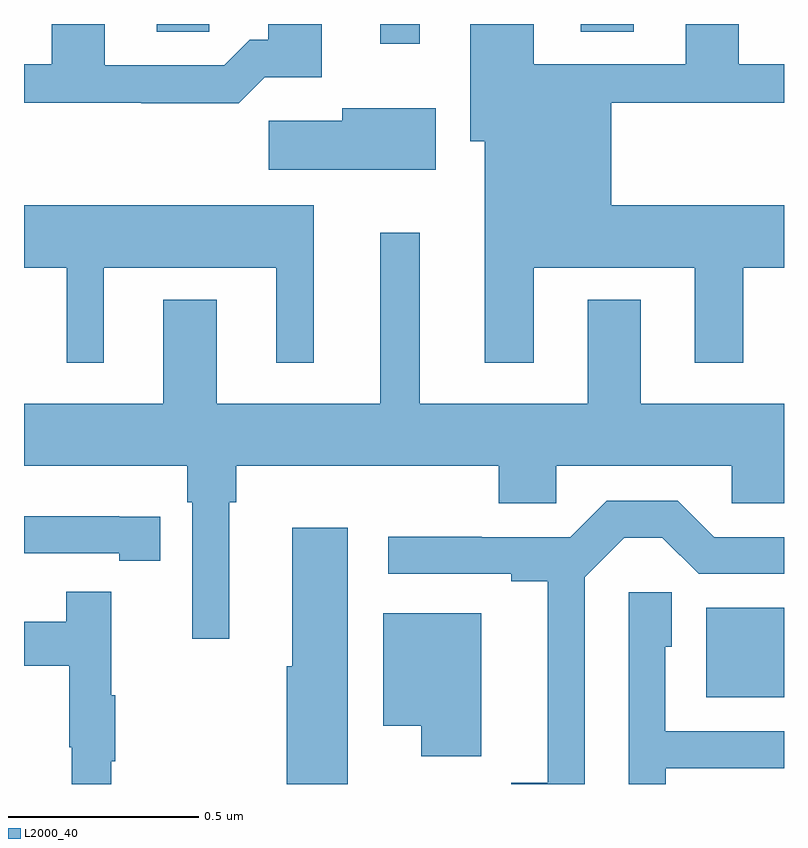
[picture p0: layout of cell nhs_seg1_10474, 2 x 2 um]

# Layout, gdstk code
import gdstk
lib = gdstk.Library(unit=1e-6, precision=1e-09)
def R(c, l, rs):  # rectangles x0, y0, x1, y1
    for r in rs: c.add(gdstk.rectangle(r[:2], r[2:], *l))
def P(c, l, *ps):  # polygons
    for p in ps: c.add(gdstk.Polygon(p, *l))
L2000_40 = (2000, 40)

nhs_seg1_10474 = lib.new_cell('nhs_seg1_10474')
R(nhs_seg1_10474, L2000_40, [(242.795,580.427,243,580.663), (241.937,582.147,242.041,582.199), (241.349,582.178,241.488,582.199), (242.465,582.178,242.605,582.199)])
P(nhs_seg1_10474, L2000_40, [(242.341,581.558),(242.765,581.558),(242.765,581.307),(242.893,581.307),(242.893,581.558),(243,581.558),(243,581.722),(242.545,581.722),(242.545,581.992),(243,581.992),(243,582.093),(242.881,582.093),(242.881,582.199),(242.741,582.199),(242.741,582.093),(242.341,582.093),(242.341,582.199),(242.174,582.199),(242.174,581.891),(242.213,581.891),(242.213,581.307),(242.341,581.307)],
  [(241.634,582.059),(241.783,582.059),(241.783,582.199),(241.643,582.199),(241.643,582.157),(241.594,582.157),(241.527,582.09),(241.213,582.09),(241.213,582.199),(241.073,582.199),(241.073,582.093),(241,582.093),(241,581.992),(241.309,581.992),(241.309,581.99),(241.565,581.99)],
  [(242.083,581.977),(241.838,581.977),(241.838,581.945),(241.644,581.945),(241.644,581.816),(242.083,581.816)],
  [(241.21,581.558),(241.664,581.558),(241.664,581.307),(241.762,581.307),(241.762,581.722),(241,581.722),(241,581.558),(241.112,581.558),(241.112,581.307),(241.21,581.307)],
  [(241.54,580.94),(241.559,580.94),(241.559,581.036),(242.249,581.036),(242.249,580.938),(242.4,580.938),(242.4,581.036),(242.862,581.036),(242.862,580.938),(243,580.938),(243,581.2),(242.623,581.2),(242.623,581.473),(242.483,581.473),(242.483,581.2),(242.041,581.2),(242.041,581.65),(241.937,581.65),(241.937,581.2),(241.507,581.2),(241.507,581.473),(241.367,581.473),(241.367,581.2),(241,581.2),(241,581.036),(241.43,581.036),(241.43,580.94),(241.443,580.94),(241.443,580.581),(241.54,580.581)],
  [(242.475,580.743),(242.579,580.847),(242.68,580.847),(242.775,580.752),(243,580.752),(243,580.848),(242.817,580.848),(242.721,580.944),(242.534,580.944),(242.438,580.848),(242.205,580.848),(242.205,580.85),(241.959,580.85),(241.959,580.752),(242.282,580.752),(242.282,580.732),(242.378,580.732),(242.378,580.202),(242.282,580.202),(242.282,580.199),(242.475,580.199)],
  [(241.358,580.902),(241.25,580.902),(241.25,580.903),(241,580.903),(241,580.806),(241.25,580.806),(241.25,580.786),(241.358,580.786)],
  [(241.852,580.873),(241.706,580.873),(241.706,580.509),(241.691,580.509),(241.691,580.199),(241.852,580.199)],
  [(241.229,580.259),(241.24,580.259),(241.24,580.433),(241.229,580.433),(241.229,580.705),(241.111,580.705),(241.111,580.626),(241,580.626),(241,580.51),(241.119,580.51),(241.119,580.296),(241.126,580.296),(241.126,580.199),(241.229,580.199)],
  [(242.689,580.241),(243,580.241),(243,580.338),(242.688,580.338),(242.688,580.56),(242.704,580.56),(242.704,580.703),(242.592,580.703),(242.592,580.199),(242.689,580.199)],
  [(242.203,580.648),(241.946,580.648),(241.946,580.352),(242.045,580.352),(242.045,580.272),(242.203,580.272)])

lib.write_gds('nhs_seg1_10474.gds')
